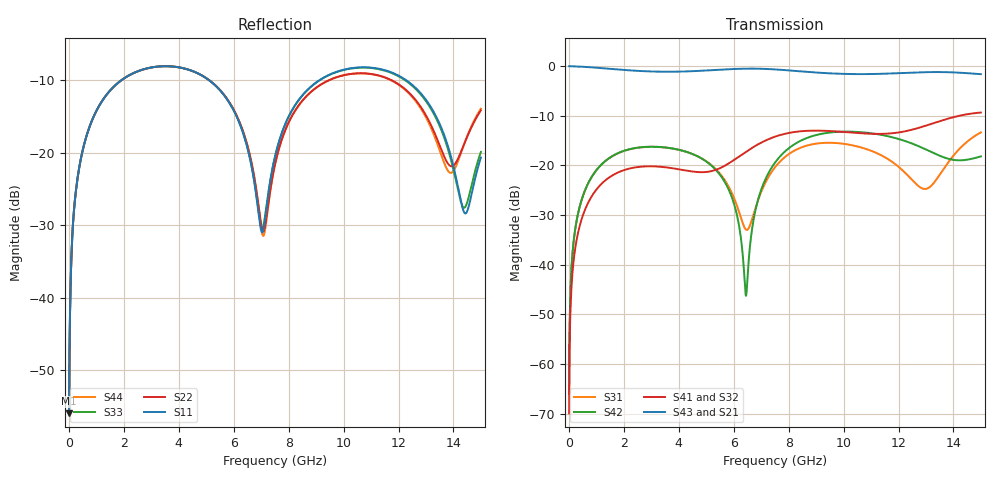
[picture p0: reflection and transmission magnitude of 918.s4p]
! Created with skrf 1.8.0 (http://scikit-rf.org).
# GHz S RI R 50.0
!freq ReS11 ImS11 ReS12 ImS12 ReS13 ImS13
! ReS14 ImS14
! ReS21 ImS21 ReS22 ImS22 ReS23 ImS23
! ReS24 ImS24
! ReS31 ImS31 ReS32 ImS32 ReS33 ImS33
! ReS34 ImS34
! ReS41 ImS41 ReS42 ImS42 ReS43 ImS43
! ReS44 ImS44
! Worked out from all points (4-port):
!   2499 points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, 5 MHz to 15 GHz, reference 50 ohm
!   strongest paths, dB at 5 MHz, 3.476 GHz, 7.19 GHz, 11.1 GHz, 15 GHz:
!     S43: 0.0, -1.1, -0.6, -1.6, -1.6
!     S21: 0.0, -1.1, -0.6, -1.6, -1.6
!     S41: -69.9, -20.4, -14.9, -13.6, -9.3
!     S32: -69.9, -20.3, -14.9, -13.6, -9.3
!     S42: -66.0, -16.4, -22.4, -13.6, -18.2
!     S31: -66.0, -16.4, -23.1, -17.3, -13.4
!   lowest |S11| = -55.9 dB at 5 MHz (marker M1), VSWR 1.00, Z = 50.1 + j0.0973 ohm
!   |S11| at or under -10 dB: start of sweep to 1.91 GHz; 5.102 GHz to 9.121 GHz (4.019 GHz wide, 56.5 % of centre); 12.28 GHz to end of sweep
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0.005  0.00128 0.000971  0.9987 -0.00249  6.28e-05 0.000499  -6.11e-05 -0.000313
       0.9987 -0.00249  0.00128 0.000971  -6.11e-05 -0.000313  6.28e-05 0.000499
       6.28e-05 0.000499  -6.11e-05 -0.000313  0.00128 0.000971  0.9987 -0.00249
       -6.11e-05 -0.000313  6.28e-05 0.000499  0.9987 -0.00249  0.00128 0.000971
0.4126719  0.024 0.0836  0.9669 -0.2031  0.0112 0.039  -0.00933 -0.0242
           0.9669 -0.2031  0.0239 0.0836  -0.00934 -0.0241  0.0113 0.0389
           0.0112 0.039  -0.00934 -0.0241  0.024 0.0836  0.9669 -0.2031
           -0.00933 -0.0242  0.0113 0.0389  0.9669 -0.2031  0.0239 0.0836
1.925802  0.2591 0.184  0.5737 -0.7169  0.1217 0.0642  -0.0875 -0.0102
          0.5737 -0.7169  0.2586 0.1844  -0.0876 -0.01  0.1227 0.063
          0.1217 0.0642  -0.0876 -0.01  0.2591 0.1841  0.5737 -0.7169
          -0.0875 -0.0102  0.1227 0.063  0.5737 -0.7169  0.2587 0.1843
6.446436  0.055 -0.1039  -0.8853 -0.3237  -0.0212 -0.00779  -0.0441 0.13
          -0.8853 -0.3237  0.0572 -0.1072  -0.0417 0.1308  0.00486 0.000254
          -0.0212 -0.00779  -0.0417 0.1308  0.0567 -0.1034  -0.8853 -0.3236
          -0.0441 0.13  0.00486 0.000254  -0.8853 -0.3236  0.0557 -0.1079
7.034181  0.0282 -0.00137  -0.9373 -0.0644  -0.0164 0.0547  -0.00875 0.1713
          -0.9373 -0.0644  0.0284 -0.00859  -0.00571 0.1713  0.023 0.0559
          -0.0164 0.0547  -0.00571 0.1713  0.0303 -0.00162  -0.9373 -0.0644
          -0.00875 0.1713  0.023 0.0559  -0.9373 -0.0644  0.0265 -0.00874
11.11088  0.3756 -0.0797  0.0674 0.8298  0.1351 -0.0201  0.1941 -0.0745
          0.0674 0.8298  0.344 -0.0416  0.1936 -0.0804  0.1262 -0.1664
          0.1351 -0.0201  0.1936 -0.0804  0.373 -0.0797  0.0678 0.8305
          0.1941 -0.0745  0.1262 -0.1664  0.0678 0.8305  0.3429 -0.0423
15  0.0674 0.0636  0.8063 -0.2001  0.1918 0.097  -0.1022 -0.3252
    0.8063 -0.2001  0.1514 0.1246  -0.114 -0.322  -0.00946 0.1228
    0.1918 0.097  -0.114 -0.322  0.0742 0.069  0.8044 -0.2031
    -0.1022 -0.3252  -0.00946 0.1228  0.8044 -0.2031  0.1475 0.1368
